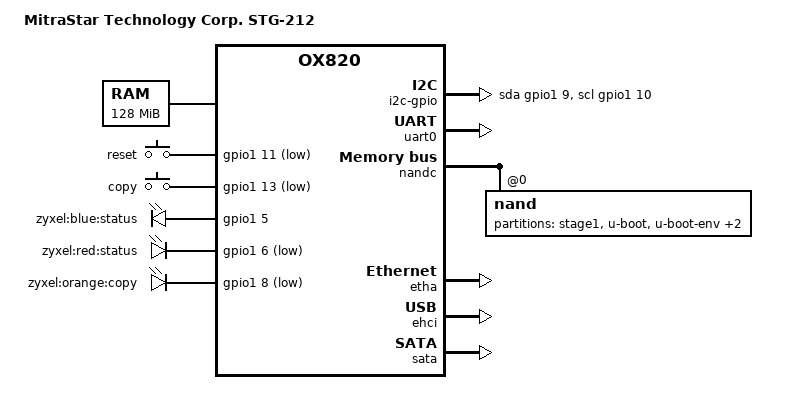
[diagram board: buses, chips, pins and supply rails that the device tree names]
/dts-v1/;

#include "ox820.dtsi"

#include <dt-bindings/input/input.h>

/ {
	model = "MitraStar Technology Corp. STG-212";

	compatible = "mitrastar,stg-212", "oxsemi,ox820";

	chosen {
		bootargs = "earlyprintk console=ttyS0,115200";
		stdout-path = "serial0:115200n8";
	};

	memory {
		/* 128Mbytes DDR */
		reg = <0x60000000 0x8000000>;
	};

	aliases {
		serial0 = &uart0;
		gpio0 = &gpio0;
		gpio1 = &gpio1;
		led-boot = &led_status;
		led-failsafe = &led_warn;
		led-running = &led_status;
		led-upgrade = &led_warn;
	};

	keys {
		compatible = "gpio-keys-polled";
		#address-cells = <1>;
		#size-cells = <0>;
		poll-interval = <100>;

		reset {
			label = "reset";
			gpios = <&gpio1 11 1>;
			linux,code = <KEY_RESTART>;
		};
		copy {
			label = "copy";
			gpios = <&gpio1 13 1>;
			linux,code = <KEY_COPY>;
		};
	};

	leds {
		compatible = "gpio-leds";
		led_status: status {
			label = "zyxel:blue:status";
			gpios = <&gpio1 5 0>;
		};
		led_warn: status2 {
			label = "zyxel:red:status";
			gpios = <&gpio1 6 1>;
		};
		copy {
			label = "zyxel:orange:copy";
			gpios = <&gpio1 8 1>;
			trigger-sources = <&ehci_port1>, <&ehci_port2>;
			linux,default-trigger = "usbport";
		};
	};

	i2c-gpio {
		compatible = "i2c-gpio";
		gpios = <&gpio1 9 0 &gpio1 10 0>;
		i2c-gpio,delay-us = <10>;
	};
};

&uart0 {
	status = "okay";

	pinctrl-names = "default";
	pinctrl-0 = <&pinctrl_uart0>;
};

&nandc {
	status = "okay";

	pinctrl-names = "default";
	pinctrl-0 = <&pinctrl_nand>;

	nand@0 {
		reg = <0>;
		#address-cells = <1>;
		#size-cells = <1>;
		nand-ecc-mode = "soft";
		nand-ecc-algo = "hamming";

		partition@0 {
			label = "stage1";
			reg = <0x00000000 0x00040000>;
			read-only;
		};

		partition@40000 {
			label = "u-boot";
			reg = <0x00040000 0x00380000>;
			read-only;
		};

		partition@3c0000 {
			label = "u-boot-env";
			reg = <0x003c0000 0x00080000>;
		};

		partition@440000 {
			label = "kernel";
			reg = <0x00440000 0x009c0000>;
		};

		partition@e00000 {
			label = "ubi";
			reg = <0x00e00000 0x07200000>;
		};
	};
};

&etha {
	status = "okay";

	pinctrl-names = "default";
	pinctrl-0 = <&pinctrl_etha_mdio>;
};

&ehci {
	status = "okay";
};

&sata {
	status = "okay";
};
